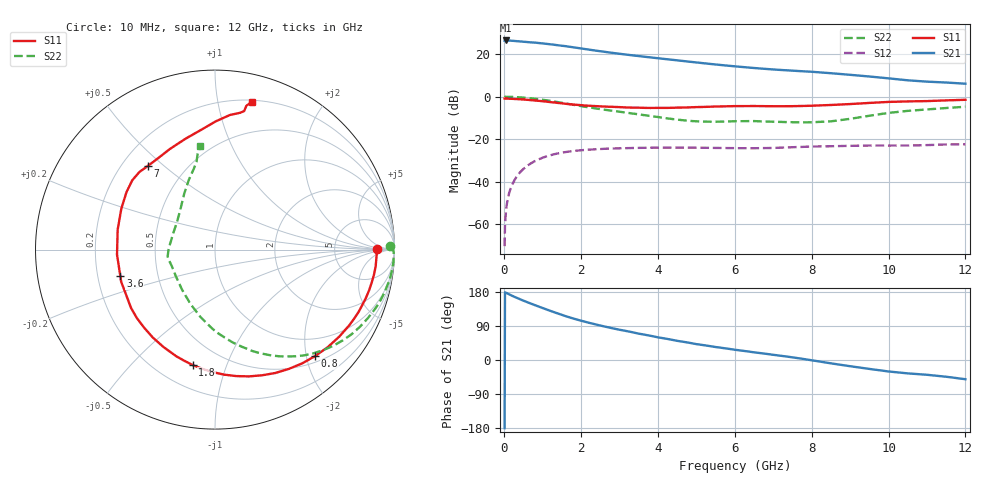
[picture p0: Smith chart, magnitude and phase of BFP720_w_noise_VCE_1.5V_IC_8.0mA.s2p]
! Infineon Technologies  Discrete & RF Semiconductors
! BFP720
! VCE =  1.5 V,  IC =  8.0 mA
! Common Emitter S-Parameters:  Aug 2012
# GHz  S  MA  R  50
!  f  S11  S21  S12  S22
! GHz  MAG  ANG  MAG  ANG  MAG  ANG  MAG  ANG
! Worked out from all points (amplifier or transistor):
!   105 points, 10 MHz to 12 GHz, reference 50 ohm
!   highest |S21| = 26.5 dB at 50 MHz (marker M1)
!   |S21| within 3 dB of that: start of sweep to 1.713 GHz
!   unconditionally stable (mu >= 1): start of sweep to 11.52 MHz; 6.039 GHz to 11.56 GHz
!   at 300 MHz: K = 0.07, MSG = 32.3 dB, |S12| = -38.3 dB
!   at 3.6 GHz: K = 0.62, MSG = 21.5 dB, |S12| = -24.1 dB
!   at 12 GHz: K = 0.88, MSG = 14.3 dB, |S12| = -22.4 dB
!   lowest NFmin = 0.48 dB at 450 MHz
!   S11 on the Smith chart (normalised r, x): 10 MHz: 19, +1; 800 MHz: 0.61, -2.17; 1.8 GHz: 0.34, -0.77; 3.6 GHz: 0.30, -0.13; 7 GHz: 0.31, +0.44; 12 GHz: 0.22, +1.25
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0.01  0.9012 0.2  20.92 -179.8  0.0003 26.8  0.9765 1.1
0.02  0.9016 -1.1  20.94 178.6  0.0009 94.2  0.9956 -0.7
0.05  0.9004 -3.0  21.21 177.1  0.0021 88.2  0.9962 -1.9
0.25  0.8881 -14.8  20.71 167.4  0.0101 81.1  0.9857 -10.2
0.4  0.8722 -23.5  20.18 160.9  0.0161 76.4  0.9664 -16.4
0.8  0.8142 -46.8  18.86 144.7  0.0304 63.5  0.8954 -31.8
1  0.7818 -58.2  18.04 137.1  0.0365 57.3  0.8487 -39.2
1.3  0.731 -75.1  16.79 126.1  0.0441 48.8  0.7722 -49.7
1.6  0.6819 -91.3  15.54 115.6  0.0497 41.2  0.6942 -58.9
1.8  0.6551 -101.0  14.62 109.4  0.0525 36.8  0.6449 -64.6
2.1  0.6217 -113.8  13.32 101.1  0.0556 31.2  0.5806 -72.1
2.4  0.6 -125.3  12.16 93.3  0.058 26.3  0.5267 -79.2
2.8  0.5787 -138.9  10.86 84.1  0.0601 21.0  0.4682 -87.6
3.6  0.5479 -164.2  8.871 67.8  0.0624 12.7  0.3729 -104.3
4.1  0.5452 179.9  7.898 58.1  0.0631 8.5  0.3224 -116.9
5  0.5699 156.2  6.428 41.9  0.0629 2.2  0.2635 -146.0
6.1  0.6013 138.9  5.112 25.8  0.0613 -1.6  0.2647 -168.7
7  0.5977 128.8  4.391 13.7  0.062 -2.0  0.2578 177.8
8.5  0.6389 105.0  3.584 -8.8  0.0681 -7.3  0.2629 143.2
9.5  0.7143 89.7  2.999 -23.5  0.0707 -11.8  0.3559 118.8
10.5  0.7756 79.5  2.437 -35.3  0.0706 -15.3  0.4643 104.8
12  0.8468 76.1  2.028 -50.7  0.0758 -21.5  0.5809 98.1
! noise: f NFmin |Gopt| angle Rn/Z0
0.45  0.48  0.35  2  0.16
1.8  0.54  0.32  22  0.14
2.4  0.59  0.26  45  0.25
5.5  0.73  0.14  40  0.14
10  0.95  0.39  -84  0.22
